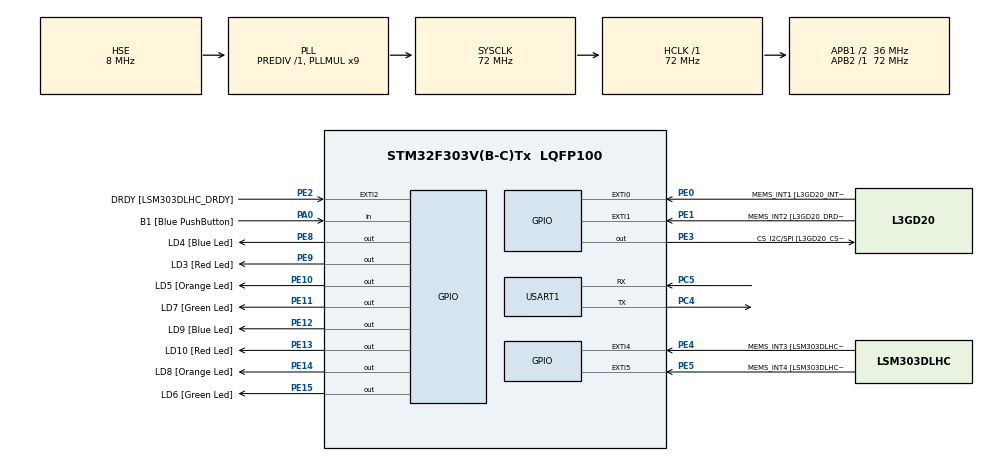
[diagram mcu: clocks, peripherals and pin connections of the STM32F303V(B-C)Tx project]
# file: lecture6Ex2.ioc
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Dma.Request0=USART1_RX
Dma.Request1=USART1_TX
Dma.USART1_RX.0.Direction=DMA_PERIPH_TO_MEMORY
Dma.USART1_RX.0.Instance=DMA1_Channel5
Dma.USART1_RX.0.MemDataAlignment=DMA_MDATAALIGN_BYTE
Dma.USART1_RX.0.MemInc=DMA_MINC_ENABLE
Dma.USART1_RX.0.Mode=DMA_NORMAL
Dma.USART1_RX.0.PeriphDataAlignment=DMA_PDATAALIGN_BYTE
Dma.USART1_RX.0.PeriphInc=DMA_PINC_DISABLE
Dma.USART1_RX.0.Priority=DMA_PRIORITY_MEDIUM
Dma.USART1_TX.1.Direction=DMA_MEMORY_TO_PERIPH
Dma.USART1_TX.1.Instance=DMA1_Channel4
Dma.USART1_TX.1.MemDataAlignment=DMA_MDATAALIGN_BYTE
Dma.USART1_TX.1.MemInc=DMA_MINC_ENABLE
Dma.USART1_TX.1.Mode=DMA_NORMAL
Dma.USART1_TX.1.PeriphDataAlignment=DMA_PDATAALIGN_BYTE
Dma.USART1_TX.1.PeriphInc=DMA_PINC_DISABLE
Dma.USART1_TX.1.Priority=DMA_PRIORITY_MEDIUM
Mcu.Family=STM32F3
Mcu.Name=STM32F303V(B-C)Tx
Mcu.Package=LQFP100
NVIC.DMA1_Channel4_IRQn=true\:0\:0\:false\:false\:true\:false\:true
NVIC.DMA1_Channel5_IRQn=true\:0\:0\:false\:false\:true\:false\:true
NVIC.PriorityGroup=NVIC_PRIORITYGROUP_0
NVIC.USART1_IRQn=true\:0\:0\:false\:false\:true\:true\:true
PA0.GPIO_Label=B1 [Blue PushButton]
PA0.GPIO_Mode=GPIO_MODE_INPUT
PA0.GPIO_PuPd=GPIO_NOPULL
PA0.Signal=GPIO_Input
PA11.GPIO_Label=DM
PA11.Signal=USB_DM
PA12.GPIO_Label=DP
PA12.Signal=USB_DP
PA13.GPIO_Label=SWDIO
PA13.Signal=SYS_JTMS-SWDIO
PA14.GPIO_Label=SWCLK
PA14.Signal=SYS_JTCK-SWCLK
PA5.GPIO_Label=SPI1_SCK [L3GD20_SCL/SPC]
PA5.GPIO_Mode=GPIO_MODE_AF_PP
PA5.GPIO_PuPd=GPIO_NOPULL
PA5.GPIO_Speed=GPIO_SPEED_FREQ_LOW
PA5.Signal=SPI1_SCK
PA6.GPIO_Label=SPI1_MISO [L3GD20_SA0/SDO]
PA6.GPIO_Mode=GPIO_MODE_AF_PP
PA6.GPIO_PuPd=GPIO_NOPULL
PA6.GPIO_Speed=GPIO_SPEED_FREQ_LOW
PA6.Signal=SPI1_MISO
PA7.GPIO_Label=SPI1_MISO [L3GD20_SDA/SDI/SDO]
PA7.GPIO_Mode=GPIO_MODE_AF_PP
PA7.GPIO_PuPd=GPIO_NOPULL
PA7.GPIO_Speed=GPIO_SPEED_FREQ_LOW
PA7.Signal=SPI1_MOSI
PB3.GPIO_Label=SWO
PB3.Signal=SYS_JTDO-TRACESWO
PB6.GPIO_FM6=__NULL
PB6.GPIO_Label=I2C1_SCL [LSM303DLHC_SCL]
PB6.GPIO_Mode=GPIO_MODE_AF_OD
PB6.GPIO_PuPd=GPIO_NOPULL
PB6.GPIO_Speed=GPIO_SPEED_FREQ_LOW
PB6.Signal=I2C1_SCL
PB7.GPIO_FM7=__NULL
PB7.GPIO_Label=I2C1_SDA [LSM303DLHC_SDA]
PB7.GPIO_Mode=GPIO_MODE_AF_OD
PB7.GPIO_PuPd=GPIO_NOPULL
PB7.GPIO_Speed=GPIO_SPEED_FREQ_LOW
PB7.Signal=I2C1_SDA
PC14-OSC32_IN.GPIO_Label=OSC32_IN
PC14-OSC32_IN.Signal=RCC_OSC32_IN
PC15-OSC32_OUT.GPIO_Label=OSC32_OUT
PC15-OSC32_OUT.Signal=RCC_OSC32_OUT
PC4.Mode=Asynchronous
PC4.Signal=USART1_TX
PC5.Mode=Asynchronous
PC5.Signal=USART1_RX
PE0.GPIO_Label=MEMS_INT1 [L3GD20_INT1]
PE0.GPIO_ModeDefaultEXTI=GPIO_MODE_EVT_RISING
PE0.GPIO_PuPd=GPIO_NOPULL
PE0.Signal=GPXTI0
PE1.GPIO_Label=MEMS_INT2 [L3GD20_DRDY/INT2]
PE1.GPIO_ModeDefaultEXTI=GPIO_MODE_EVT_RISING
PE1.GPIO_PuPd=GPIO_NOPULL
PE1.Signal=GPXTI1
PE10.GPIO_Label=LD5 [Orange Led]
PE10.GPIO_ModeDefaultOutputPP=GPIO_MODE_OUTPUT_PP
PE10.GPIO_PuPd=GPIO_NOPULL
PE10.GPIO_Speed=GPIO_SPEED_FREQ_LOW
PE10.Signal=GPIO_Output
PE11.GPIO_Label=LD7 [Green Led]
PE11.GPIO_ModeDefaultOutputPP=GPIO_MODE_OUTPUT_PP
PE11.GPIO_PuPd=GPIO_NOPULL
PE11.GPIO_Speed=GPIO_SPEED_FREQ_LOW
PE11.Signal=GPIO_Output
PE12.GPIO_Label=LD9 [Blue Led]
PE12.GPIO_ModeDefaultOutputPP=GPIO_MODE_OUTPUT_PP
PE12.GPIO_PuPd=GPIO_NOPULL
PE12.GPIO_Speed=GPIO_SPEED_FREQ_LOW
PE12.Signal=GPIO_Output
PE13.GPIO_Label=LD10 [Red Led]
PE13.GPIO_ModeDefaultOutputPP=GPIO_MODE_OUTPUT_PP
PE13.GPIO_PuPd=GPIO_NOPULL
PE13.GPIO_Speed=GPIO_SPEED_FREQ_LOW
PE13.Signal=GPIO_Output
PE14.GPIO_Label=LD8 [Orange Led]
PE14.GPIO_ModeDefaultOutputPP=GPIO_MODE_OUTPUT_PP
PE14.GPIO_PuPd=GPIO_NOPULL
PE14.GPIO_Speed=GPIO_SPEED_FREQ_LOW
PE14.Signal=GPIO_Output
PE15.GPIO_Label=LD6 [Green Led]
PE15.GPIO_ModeDefaultOutputPP=GPIO_MODE_OUTPUT_PP
PE15.GPIO_PuPd=GPIO_NOPULL
PE15.GPIO_Speed=GPIO_SPEED_FREQ_LOW
PE15.Signal=GPIO_Output
PE2.GPIO_Label=DRDY [LSM303DLHC_DRDY]
PE2.GPIO_ModeDefaultEXTI=GPIO_MODE_EVT_RISING
PE2.GPIO_PuPd=GPIO_NOPULL
PE2.Signal=GPXTI2
PE3.GPIO_Label=CS_I2C/SPI [L3GD20_CS_I2C/SPI]
PE3.GPIO_ModeDefaultOutputPP=GPIO_MODE_OUTPUT_PP
PE3.GPIO_PuPd=GPIO_NOPULL
PE3.GPIO_Speed=GPIO_SPEED_FREQ_LOW
PE3.Signal=GPIO_Output
PE4.GPIO_Label=MEMS_INT3 [LSM303DLHC_INT1]
PE4.GPIO_ModeDefaultEXTI=GPIO_MODE_EVT_RISING
PE4.GPIO_PuPd=GPIO_NOPULL
PE4.Signal=GPXTI4
PE5.GPIO_Label=MEMS_INT4 [LSM303DLHC_INT2]
PE5.GPIO_ModeDefaultEXTI=GPIO_MODE_EVT_RISING
PE5.GPIO_PuPd=GPIO_NOPULL
PE5.Signal=GPXTI5
PE8.GPIO_Label=LD4 [Blue Led]
PE8.GPIO_ModeDefaultOutputPP=GPIO_MODE_OUTPUT_PP
PE8.GPIO_PuPd=GPIO_NOPULL
PE8.GPIO_Speed=GPIO_SPEED_FREQ_LOW
PE8.Signal=GPIO_Output
PE9.GPIO_Label=LD3 [Red Led]
PE9.GPIO_ModeDefaultOutputPP=GPIO_MODE_OUTPUT_PP
PE9.GPIO_PuPd=GPIO_NOPULL
PE9.GPIO_Speed=GPIO_SPEED_FREQ_LOW
PE9.Signal=GPIO_Output
PF0-OSC_IN.GPIO_Label=OSC_IN
PF0-OSC_IN.Mode=HSE-External-Oscillator
PF0-OSC_IN.Signal=RCC_OSC_IN
PF1-OSC_OUT.GPIO_Label=OSC_OUT
PF1-OSC_OUT.Mode=HSE-External-Oscillator
PF1-OSC_OUT.Signal=RCC_OSC_OUT
ProjectManager.HeapSize=0x200
ProjectManager.StackSize=0x400
ProjectManager.TargetToolchain=MDK-ARM V5.27
RCC.AHBFreq_Value=72000000
RCC.APB1CLKDivider=RCC_HCLK_DIV2
RCC.APB1Freq_Value=36000000
RCC.APB1TimFreq_Value=72000000
RCC.APB2Freq_Value=72000000
RCC.APB2TimFreq_Value=72000000
RCC.CortexFreq_Value=72000000
RCC.HCLKFreq_Value=72000000
RCC.HSE_VALUE=8000000
RCC.HSI_VALUE=8000000
RCC.LSE_VALUE=32768
RCC.PLLMUL=RCC_PLL_MUL9
RCC.PLLSourceVirtual=RCC_PLLSOURCE_HSE
RCC.SYSCLKFreq_VALUE=72000000
RCC.SYSCLKSourceVirtual=RCC_SYSCLKSOURCE_PLLCLK
RCC.USBFreq_Value=72000000
USART1.VirtualMode-Asynchronous=VM_ASYNC
board=STM32F3DISCOVERY

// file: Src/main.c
/* USER CODE BEGIN Header */
/**
  ******************************************************************************
  * @file           : main.c
  * @brief          : Ex2 - Reimplement UART driver with DMA
  ******************************************************************************
  * @attention
  *
  * <h2><center>&copy; Copyright (c) 2020 STMicroelectronics.
  * All rights reserved.</center></h2>
  *
  * This software component is licensed by ST under BSD 3-Clause license,
  * the "License"; You may not use this file except in compliance with the
  * License. You may obtain a copy of the License at:
  *                        opensource.org/licenses/BSD-3-Clause
  *
  ******************************************************************************
  */
/* USER CODE END Header */

#include "main.h"

UART_HandleTypeDef huart1;
DMA_HandleTypeDef hdma_usart1_rx;
DMA_HandleTypeDef hdma_usart1_tx;

/* USER CODE BEGIN PV */

uint8_t Buffer = 0;

/* USER CODE END PV */

void SystemClock_Config(void);
static void MX_GPIO_Init(void);
static void MX_DMA_Init(void);
static void MX_USART1_UART_Init(void);

/* USER CODE BEGIN 0 */

void WriteSerialString(char string[])
{
	int lentest = 0;
	while((string[lentest] != 10) && lentest < 100){  lentest++; }
	HAL_UART_Transmit_DMA(&huart1, (uint8_t*)string, lentest+1);
}

void HAL_UART_RxCpltCallback(UART_HandleTypeDef *huart)
{
	switch(Buffer) {
        case 'b':
            HAL_GPIO_TogglePin (GPIOE, GPIO_PIN_8);
            HAL_GPIO_TogglePin (GPIOE, GPIO_PIN_12);
        break;

        case 'r':
            HAL_GPIO_TogglePin (GPIOE, GPIO_PIN_9);
          HAL_GPIO_TogglePin (GPIOE, GPIO_PIN_13);
        break;

        case 'o':
            HAL_GPIO_TogglePin (GPIOE, GPIO_PIN_10);
          HAL_GPIO_TogglePin (GPIOE, GPIO_PIN_14);
        break;

        case 'g':
            HAL_GPIO_TogglePin (GPIOE, GPIO_PIN_11);
          HAL_GPIO_TogglePin (GPIOE, GPIO_PIN_15);
        break;

        default:
            /*! write data */
            HAL_UART_Transmit_DMA(&huart1, &Buffer, 1);
    }

	HAL_UART_Receive_DMA(&huart1, &Buffer, 1);
}

/* USER CODE END 0 */

int main(void)
{

  /* MCU Configuration--------------------------------------------------------*/

  /* Reset of all peripherals, Initializes the Flash interface and the Systick. */
  HAL_Init();

  /* Configure the system clock */
  SystemClock_Config();

  /* Initialize all configured peripherals */
  MX_GPIO_Init();
  MX_DMA_Init();
  MX_USART1_UART_Init();
  /* USER CODE BEGIN 2 */
	WriteSerialString("[OK] Serial started..\n");

	HAL_UART_Receive_DMA(&huart1, &Buffer, 1);

  /* USER CODE END 2 */

  /* Infinite loop */
  while (1)
  {

  }
}

void SystemClock_Config(void)
{
  RCC_OscInitTypeDef RCC_OscInitStruct = {0};
  RCC_ClkInitTypeDef RCC_ClkInitStruct = {0};
  RCC_PeriphCLKInitTypeDef PeriphClkInit = {0};

  /** Initializes the CPU, AHB and APB busses clocks
  */
  RCC_OscInitStruct.OscillatorType = RCC_OSCILLATORTYPE_HSE;
  RCC_OscInitStruct.HSEState = RCC_HSE_ON;
  RCC_OscInitStruct.HSEPredivValue = RCC_HSE_PREDIV_DIV1;
  RCC_OscInitStruct.HSIState = RCC_HSI_ON;
  RCC_OscInitStruct.PLL.PLLState = RCC_PLL_ON;
  RCC_OscInitStruct.PLL.PLLSource = RCC_PLLSOURCE_HSE;
  RCC_OscInitStruct.PLL.PLLMUL = RCC_PLL_MUL9;
  if (HAL_RCC_OscConfig(&RCC_OscInitStruct) != HAL_OK)
  {
    Error_Handler();
  }
  /** Initializes the CPU, AHB and APB busses clocks
  */
  RCC_ClkInitStruct.ClockType = RCC_CLOCKTYPE_HCLK|RCC_CLOCKTYPE_SYSCLK
                              |RCC_CLOCKTYPE_PCLK1|RCC_CLOCKTYPE_PCLK2;
  RCC_ClkInitStruct.SYSCLKSource = RCC_SYSCLKSOURCE_PLLCLK;
  RCC_ClkInitStruct.AHBCLKDivider = RCC_SYSCLK_DIV1;
  RCC_ClkInitStruct.APB1CLKDivider = RCC_HCLK_DIV2;
  RCC_ClkInitStruct.APB2CLKDivider = RCC_HCLK_DIV1;

  if (HAL_RCC_ClockConfig(&RCC_ClkInitStruct, FLASH_LATENCY_2) != HAL_OK)
  {
    Error_Handler();
  }
  PeriphClkInit.PeriphClockSelection = RCC_PERIPHCLK_USART1;
  PeriphClkInit.Usart1ClockSelection = RCC_USART1CLKSOURCE_PCLK2;
  if (HAL_RCCEx_PeriphCLKConfig(&PeriphClkInit) != HAL_OK)
  {
    Error_Handler();
  }
}

static void MX_USART1_UART_Init(void)
{

  huart1.Instance = USART1;
  huart1.Init.BaudRate = 9600;
  huart1.Init.WordLength = UART_WORDLENGTH_8B;
  huart1.Init.StopBits = UART_STOPBITS_1;
  huart1.Init.Parity = UART_PARITY_NONE;
  huart1.Init.Mode = UART_MODE_TX_RX;
  huart1.Init.HwFlowCtl = UART_HWCONTROL_NONE;
  huart1.Init.OverSampling = UART_OVERSAMPLING_16;
  huart1.Init.OneBitSampling = UART_ONE_BIT_SAMPLE_DISABLE;
  huart1.AdvancedInit.AdvFeatureInit = UART_ADVFEATURE_NO_INIT;
  if (HAL_UART_Init(&huart1) != HAL_OK)
  {
    Error_Handler();
  }

}

static void MX_DMA_Init(void)
{

  /* DMA controller clock enable */
  __HAL_RCC_DMA1_CLK_ENABLE();

  /* DMA interrupt init */
  /* DMA1_Channel4_IRQn interrupt configuration */
  HAL_NVIC_SetPriority(DMA1_Channel4_IRQn, 0, 0);
  HAL_NVIC_EnableIRQ(DMA1_Channel4_IRQn);
  /* DMA1_Channel5_IRQn interrupt configuration */
  HAL_NVIC_SetPriority(DMA1_Channel5_IRQn, 0, 0);
  HAL_NVIC_EnableIRQ(DMA1_Channel5_IRQn);

}

static void MX_GPIO_Init(void)
{
  GPIO_InitTypeDef GPIO_InitStruct = {0};

  /* GPIO Ports Clock Enable */
  __HAL_RCC_GPIOE_CLK_ENABLE();
  __HAL_RCC_GPIOC_CLK_ENABLE();
  __HAL_RCC_GPIOF_CLK_ENABLE();
  __HAL_RCC_GPIOA_CLK_ENABLE();
  __HAL_RCC_GPIOB_CLK_ENABLE();

  /*Configure GPIO pin Output Level */
  HAL_GPIO_WritePin(GPIOE, CS_I2C_SPI_Pin|LD4_Pin|LD3_Pin|LD5_Pin
                          |LD7_Pin|LD9_Pin|LD10_Pin|LD8_Pin
                          |LD6_Pin, GPIO_PIN_RESET);

  /*Configure GPIO pins : DRDY_Pin MEMS_INT3_Pin MEMS_INT4_Pin MEMS_INT1_Pin
                           MEMS_INT2_Pin */
  GPIO_InitStruct.Pin = DRDY_Pin|MEMS_INT3_Pin|MEMS_INT4_Pin|MEMS_INT1_Pin
                          |MEMS_INT2_Pin;
  GPIO_InitStruct.Mode = GPIO_MODE_EVT_RISING;
  GPIO_InitStruct.Pull = GPIO_NOPULL;
  HAL_GPIO_Init(GPIOE, &GPIO_InitStruct);

  /*Configure GPIO pins : CS_I2C_SPI_Pin LD4_Pin LD3_Pin LD5_Pin
                           LD7_Pin LD9_Pin LD10_Pin LD8_Pin
                           LD6_Pin */
  GPIO_InitStruct.Pin = CS_I2C_SPI_Pin|LD4_Pin|LD3_Pin|LD5_Pin
                          |LD7_Pin|LD9_Pin|LD10_Pin|LD8_Pin
                          |LD6_Pin;
  GPIO_InitStruct.Mode = GPIO_MODE_OUTPUT_PP;
  GPIO_InitStruct.Pull = GPIO_NOPULL;
  GPIO_InitStruct.Speed = GPIO_SPEED_FREQ_LOW;
  HAL_GPIO_Init(GPIOE, &GPIO_InitStruct);

  /*Configure GPIO pin : B1_Pin */
  GPIO_InitStruct.Pin = B1_Pin;
  GPIO_InitStruct.Mode = GPIO_MODE_INPUT;
  GPIO_InitStruct.Pull = GPIO_NOPULL;
  HAL_GPIO_Init(B1_GPIO_Port, &GPIO_InitStruct);

  /*Configure GPIO pins : SPI1_SCK_Pin SPI1_MISO_Pin SPI1_MISOA7_Pin */
  GPIO_InitStruct.Pin = SPI1_SCK_Pin|SPI1_MISO_Pin|SPI1_MISOA7_Pin;
  GPIO_InitStruct.Mode = GPIO_MODE_AF_PP;
  GPIO_InitStruct.Pull = GPIO_NOPULL;
  GPIO_InitStruct.Speed = GPIO_SPEED_FREQ_LOW;
  GPIO_InitStruct.Alternate = GPIO_AF5_SPI1;
  HAL_GPIO_Init(GPIOA, &GPIO_InitStruct);

  /*Configure GPIO pins : DM_Pin DP_Pin */
  GPIO_InitStruct.Pin = DM_Pin|DP_Pin;
  GPIO_InitStruct.Mode = GPIO_MODE_AF_PP;
  GPIO_InitStruct.Pull = GPIO_NOPULL;
  GPIO_InitStruct.Speed = GPIO_SPEED_FREQ_HIGH;
  GPIO_InitStruct.Alternate = GPIO_AF14_USB;
  HAL_GPIO_Init(GPIOA, &GPIO_InitStruct);

  /*Configure GPIO pins : I2C1_SCL_Pin I2C1_SDA_Pin */
  GPIO_InitStruct.Pin = I2C1_SCL_Pin|I2C1_SDA_Pin;
  GPIO_InitStruct.Mode = GPIO_MODE_AF_OD;
  GPIO_InitStruct.Pull = GPIO_PULLUP;
  GPIO_InitStruct.Speed = GPIO_SPEED_FREQ_LOW;
  GPIO_InitStruct.Alternate = GPIO_AF4_I2C1;
  HAL_GPIO_Init(GPIOB, &GPIO_InitStruct);

}

void Error_Handler(void)
{
}

/************************ (C) COPYRIGHT STMicroelectronics *****END OF FILE****/
